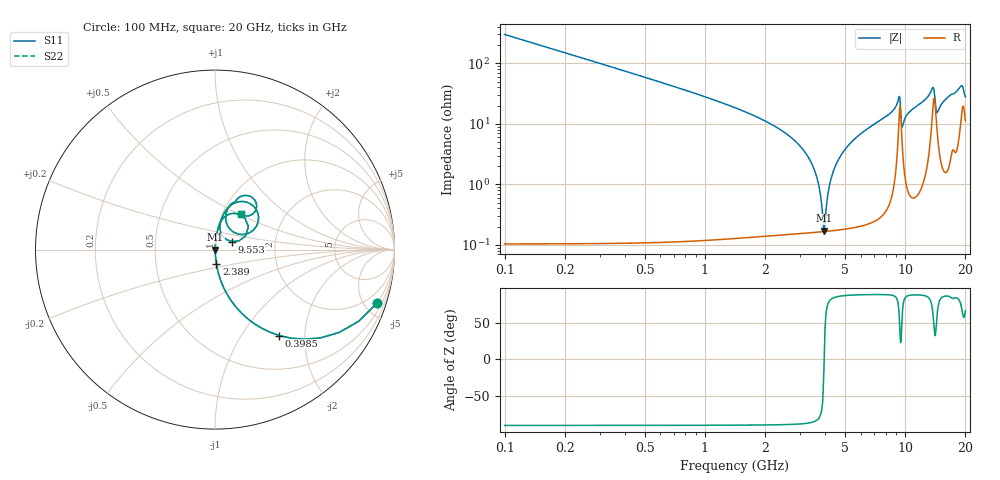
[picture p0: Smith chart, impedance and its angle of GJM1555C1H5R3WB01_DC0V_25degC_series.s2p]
!Murata Part Number: GJM1555C1H5R3WB01
!These Parameters are Measured in Series Mode Connection
!  o--ll--o
!Port1  Port2
!  o------o
!Operation Temp=25[degC], DC Bias Voltage=0[V]
!Freq. Start=100[MHz] Stop=20[GHz], 401[Steps]
!Data Generated on Apr 1, 2025
# Hz S RI R 50
!Freq.(Hz) S11(Real) S11(Imag) S21(Real) S21(Imag) S12(Real) S12(Imag) S22(Real) S22(Imag)
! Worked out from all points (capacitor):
!   401 points, 100 MHz to 20 GHz, reference 50 ohm
!   read as one part in series: C = 5.3 pF near 199.5 MHz
!   lowest |Z| = 172 mohm at 3.931 GHz (marker M1)
!   series resonance near 3.942 GHz, so ESL is about 310 pH
!   S11 on the Smith chart (normalised r, x): 100 MHz: 1.00, -6.00; 398.5 MHz: 1.00, -1.49; 2.389 GHz: 1.00, -0.16; 9.553 GHz: 1.21, +0.11; 20 GHz: 1.23, +0.51
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1e8  0.9 -0.2999  0.1 0.2999  0.1 0.2999  0.9 -0.2999
3.985e8  0.3576 -0.4786  0.6424 0.4786  0.6424 0.4786  0.3576 -0.4786
9.4575e8  0.0831 -0.2741  0.9169 0.2741  0.9169 0.2741  0.0831 -0.2741
2.3885e9  0.00775 -0.0791  0.9922 0.0791  0.9922 0.0791  0.00775 -0.0791
3.43325e9  0.00204 -0.0212  0.998 0.0212  0.998 0.0212  0.00204 -0.0212
3.682e9  0.00174 -0.0105  0.9983 0.0105  0.9983 0.0105  0.00174 -0.0105
3.93075e9  0.00166 -0.000432  0.9983 0.000432  0.9983 0.000432  0.00166 -0.000432
4.03025e9  0.00168 0.00341  0.9983 -0.00341  0.9983 -0.00341  0.00168 0.00341
4.279e9  0.00187 0.0127  0.9981 -0.0127  0.9981 -0.0127  0.00187 0.0127
4.72675e9  0.00257 0.0282  0.9974 -0.0282  0.9974 -0.0282  0.00257 0.0282
5.52275e9  0.0048 0.0536  0.9952 -0.0536  0.9952 -0.0536  0.0048 0.0536
6.7665e9  0.0105 0.0903  0.9895 -0.0903  0.9895 -0.0903  0.0105 0.0903
9.30375e9  0.1383 0.1954  0.8617 -0.1954  0.8617 -0.1954  0.1383 0.1954
9.5525e9  0.096 0.0445  0.904 -0.0445  0.904 -0.0445  0.096 0.0445
9.70175e9  0.0428 0.0765  0.9572 -0.0765  0.9572 -0.0765  0.0428 0.0765
1.005e10  0.0272 0.1242  0.9728 -0.1242  0.9728 -0.1242  0.0272 0.1242
1.338325e10  0.1346 0.2668  0.8654 -0.2668  0.8654 -0.2668  0.1346 0.2668
1.3831e10  0.2379 0.2054  0.7621 -0.2054  0.7621 -0.2054  0.2379 0.2054
1.4428e10  0.0866 0.1111  0.9134 -0.1111  0.9134 -0.1111  0.0866 0.1111
1.67165e10  0.0963 0.2594  0.9037 -0.2594  0.9037 -0.2594  0.0963 0.2594
1.905475e10  0.2132 0.2851  0.7868 -0.2851  0.7868 -0.2851  0.2132 0.2851
2e10  0.1465 0.1966  0.8535 -0.1966  0.8535 -0.1966  0.1465 0.1966
